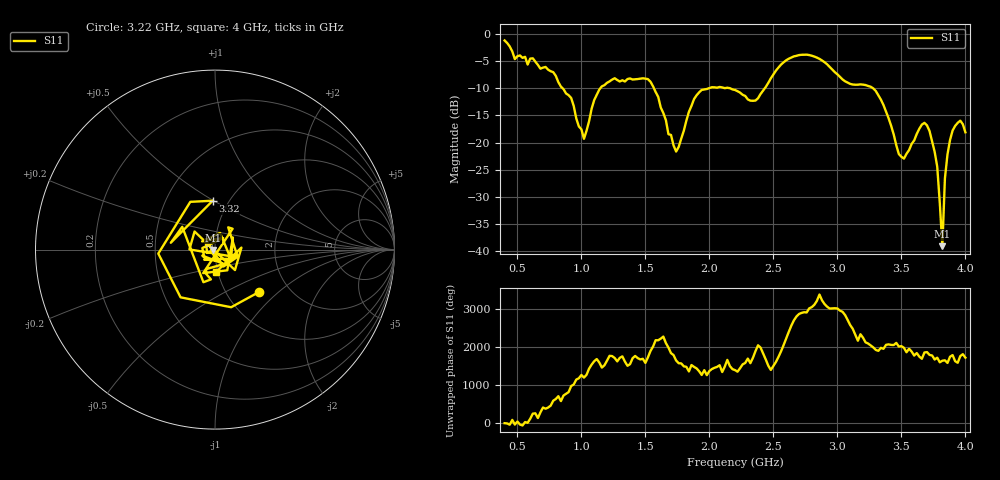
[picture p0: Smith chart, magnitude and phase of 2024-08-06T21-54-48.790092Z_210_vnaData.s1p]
!Created with skrf (http://scikit-rf.org).
# Hz S RI R 50.0
!freq ReS11 ImS11
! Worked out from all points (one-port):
!   181 points, 400 MHz to 4 GHz, reference 50 ohm
!   lowest |S11| = -39.2 dB at 3.82 GHz (marker M1), VSWR 1.02, Z = 48.9 - j0.241 ohm
!   |S11| at or under -10 dB: 854.6 MHz to 1.147 GHz (292.2 MHz wide, 29.2 % of centre); 1.567 GHz to 1.991 GHz (424.1 MHz wide, 23.8 % of centre); 3.281 GHz to end of sweep (the widest 3 of 4)
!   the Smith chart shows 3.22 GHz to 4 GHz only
!   S11 on the Smith chart (normalised r, x): 3.22 GHz: 1.41, -0.75; 3.32 GHz: 0.84, +0.50; 4 GHz: 0.98, -0.25
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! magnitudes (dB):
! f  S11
! 400 MHz  -1.1
! 480 MHz  -4.6
! 620 MHz  -4.4
! 860 MHz  -10.1
! 1.02 GHz  -19.3
! 1.14 GHz  -10.2
! 1.3 GHz  -8.7
! 1.54 GHz  -8.8
! 1.68 GHz  -18.5
! 1.76 GHz  -20.8
! 1.92 GHz  -10.7
! 2.2 GHz  -10.3
! 2.36 GHz  -12.2
! 2.66 GHz  -4.1
! 2.86 GHz  -4.5
! 3.1 GHz  -9.2
! 3.22 GHz  -9.4
! 3.32 GHz  -11.3
! 3.48 GHz  -22.1
! 3.56 GHz  -21.4
! 3.66 GHz  -16.7
! 3.72 GHz  -17.9
! 3.78 GHz  -24.5
! 3.82 GHz  -39.2
! 3.84 GHz  -26.6
! 3.88 GHz  -19.5
! 3.96 GHz  -16.0
! 4 GHz  -18.1
